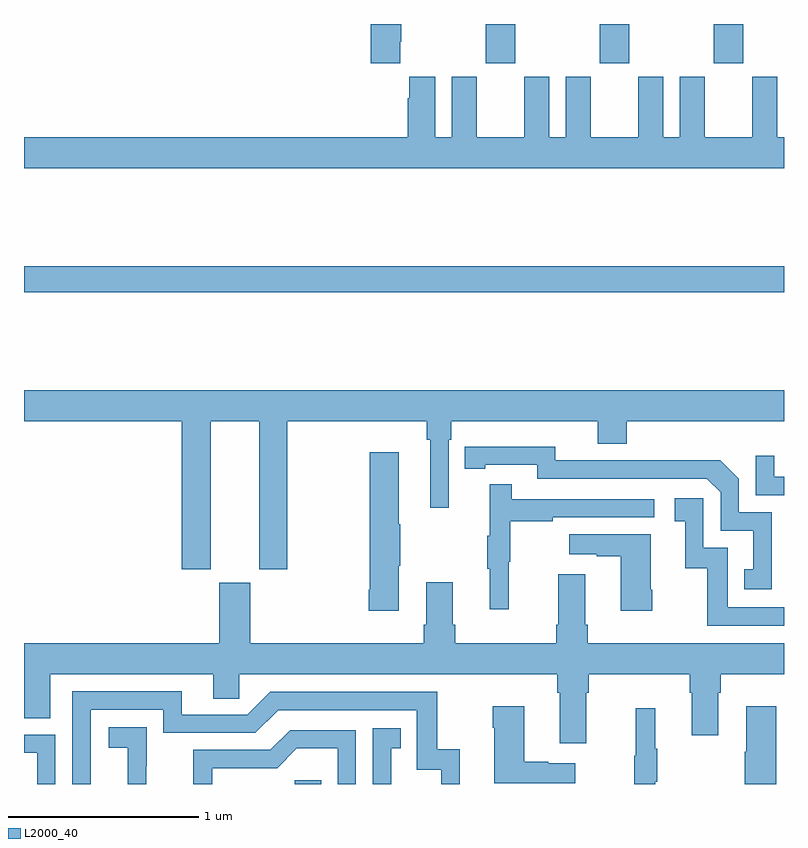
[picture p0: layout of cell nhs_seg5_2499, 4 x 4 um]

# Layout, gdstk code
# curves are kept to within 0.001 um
import gdstk
lib = gdstk.Library(unit=1e-6, precision=1e-09)
def R(c, l, rs):  # rectangles x0, y0, x1, y1
    for r in rs: c.add(gdstk.rectangle(r[:2], r[2:], *l))
def A(c, l, x, y, w, h, nx, ny, dx, dy):  # array of equal rectangles
    R(c, l, [(x+i*dx, y+j*dy, x+i*dx+w, y+j*dy+h) for i in range(nx) for j in range(ny)])
def P(c, l, *ps):  # polygons
    for p in ps: c.add(gdstk.Polygon(p, *l))
L2000_40 = (2000, 40)

nhs_seg5_2499 = lib.new_cell('nhs_seg5_2499')
A(nhs_seg5_2499, L2000_40, 257.431, 910.593, 0.155, 0.206, 3, 1, 0.6, 0)
R(nhs_seg5_2499, L2000_40, [(256.425,906.799,256.565,906.819), (255,909.388,259,909.524)])
P(nhs_seg5_2499, L2000_40, [(256.981,910.705),(256.986,910.705),(256.986,910.799),(256.826,910.799),(256.826,910.593),(256.981,910.593)],
  [(259,910.204),(258.964,910.204),(258.964,910.522),(258.833,910.522),(258.833,910.204),(258.583,910.204),(258.583,910.522),(258.452,910.522),(258.452,910.204),(258.364,910.204),(258.364,910.522),(258.233,910.522),(258.233,910.204),(257.983,910.204),(257.983,910.522),(257.852,910.522),(257.852,910.204),(257.764,910.204),(257.764,910.522),(257.633,910.522),(257.633,910.204),(257.383,910.204),(257.383,910.522),(257.252,910.522),(257.252,910.204),(257.164,910.204),(257.164,910.522),(257.027,910.522),(257.027,910.409),(257.021,910.409),(257.021,910.204),(255,910.204),(255,910.04),(259,910.04)],
  [(255.982,908.708),(256.238,908.708),(256.238,907.929),(256.386,907.929),(256.386,908.708),(257.119,908.708),(257.119,908.612),(257.138,908.612),(257.138,908.253),(257.235,908.253),(257.235,908.612),(257.249,908.612),(257.249,908.708),(258.02,908.708),(258.02,908.591),(258.173,908.591),(258.173,908.708),(259,908.708),(259,908.872),(255,908.872),(255,908.708),(255.83,908.708),(255.83,907.929),(255.982,907.929)],
  [(258.936,908.229),(258.762,908.229),(258.762,908.406),(258.664,908.504),(258.256,908.504),(258.256,908.502),(257.796,908.502),(257.796,908.575),(257.32,908.574),(257.32,908.458),(257.428,908.458),(257.428,908.478),(257.7,908.478),(257.7,908.406),(258.594,908.406),(258.666,908.334),(258.666,908.133),(258.839,908.133),(258.839,907.929),(258.79,907.929),(258.79,907.824),(258.936,907.824)],
  [(256.972,907.948),(256.98,907.948),(256.98,908.165),(256.972,908.165),(256.972,908.545),(256.819,908.545),(256.819,907.822),(256.814,907.822),(256.814,907.71),(256.972,907.71)],
  [(259,908.415),(258.949,908.415),(258.949,908.527),(258.852,908.527),(258.852,908.319),(259,908.319)],
  [(257.552,907.968),(257.56,907.968),(257.56,908.182),(257.783,908.182),(257.783,908.202),(258.316,908.202),(258.316,908.298),(257.567,908.298),(257.567,908.377),(257.45,908.377),(257.45,908.105),(257.439,908.105),(257.439,907.931),(257.45,907.931),(257.45,907.719),(257.552,907.719)],
  [(259,907.728),(258.705,907.728),(258.705,908.043),(258.576,908.043),(258.576,908.302),(258.426,908.302),(258.426,908.181),(258.479,908.181),(258.479,907.935),(258.597,907.935),(258.597,907.632),(259,907.632)],
  [(258.306,907.822),(258.298,907.822),(258.298,908.113),(257.871,908.113),(257.871,908.009),(258.014,908.009),(258.014,907.999),(258.14,907.999),(258.14,907.71),(258.306,907.71)],
  [(257.813,907.903),(257.813,907.636),(257.801,907.636),(257.801,907.54),(257.27,907.54),(257.27,907.636),(257.257,907.636),(257.257,907.861),(257.117,907.861),(257.117,907.636),(257.105,907.636),(257.105,907.54),(256.192,907.54),(256.192,907.857),(256.028,907.857),(256.028,907.54),(255,907.54),(255,907.144),(255.139,907.144),(255.139,907.376),(255.995,907.376),(255.995,907.249),(256.134,907.249),(256.134,907.376),(257.807,907.376),(257.807,907.28),(257.819,907.28),(257.819,907.014),(257.959,907.014),(257.959,907.28),(257.972,907.28),(257.972,907.376),(258.503,907.376),(258.503,907.28),(258.515,907.28),(258.515,907.056),(258.655,907.056),(258.655,907.28),(258.668,907.28),(258.668,907.376),(259,907.376),(259,907.54),(257.966,907.54),(257.966,907.636),(257.953,907.636),(257.953,907.903)],
  [(255.351,907.191),(255.732,907.191),(255.732,907.068),(256.218,907.068),(256.338,907.188),(257.067,907.188),(257.067,906.873),(257.196,906.873),(257.196,906.799),(257.294,906.799),(257.294,906.982),(257.176,906.982),(257.176,907.284),(256.296,907.284),(256.176,907.164),(255.829,907.164),(255.829,907.287),(255.255,907.287),(255.255,906.799),(255.351,906.799)],
  [(257.902,906.907),(257.759,906.907),(257.759,906.917),(257.632,906.917),(257.632,907.207),(257.467,907.207),(257.467,907.094),(257.474,907.094),(257.474,906.803),(257.902,906.803)],
  [(258.959,907.207),(258.8,907.207),(258.8,906.968),(258.793,906.968),(258.793,906.799),(258.959,906.799)],
  [(258.323,906.811),(258.334,906.811),(258.334,906.985),(258.323,906.985),(258.323,907.198),(258.22,907.198),(258.22,906.948),(258.213,906.948),(258.213,906.799),(258.323,906.799)],
  [(255.644,906.893),(255.645,906.893),(255.645,907.099),(255.447,907.099),(255.447,906.989),(255.545,906.989),(255.545,906.799),(255.644,906.799)],
  [(256.933,906.987),(256.982,906.987),(256.982,907.093),(256.836,907.093),(256.836,906.799),(256.933,906.799)],
  [(255.99,906.882),(256.332,906.882),(256.436,906.986),(256.65,906.986),(256.65,906.799),(256.746,906.799),(256.746,907.083),(256.4,907.083),(256.295,906.978),(255.892,906.978),(255.892,906.799),(255.99,906.799)],
  [(255.165,907.059),(255,907.059),(255,906.963),(255.069,906.963),(255.069,906.799),(255.165,906.799)])

lib.write_gds('nhs_seg5_2499.gds')
